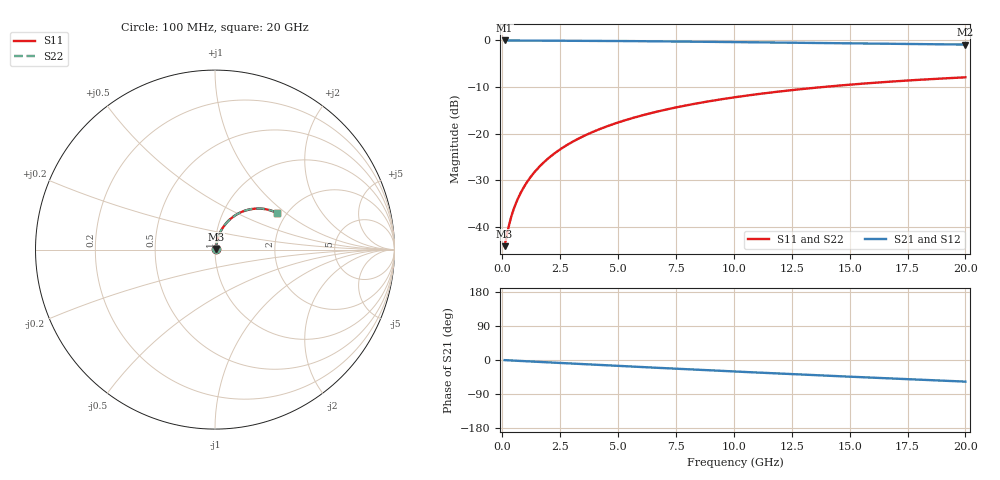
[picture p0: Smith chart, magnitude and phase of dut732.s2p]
! Touchstone file exported from HFSS 2026.1.0
!  File:  C:/ffzhzh/LocalFiles/Ansys_Project_Files/temp_train_TMRDL_732_1783154934_51560.aedt
!  Generated:  04:50:17 PM Jul  4, 2026
!  Design:  TMRDL
!  Project:  temp_train_TMRDL_732_1783154934_51560
! Variables:
!  h_bsmrdl = 2um
!  h_ox = 20um
!  h_rdl = 5um
!  h_sub = 80um
!  h_tmrdl = 3.53um
!  h_tsv = 80um
!  h_via = 3um
!  l_bsmrdl = 300um
!  l_sub = 1338.27um
!  l_tmrdl = 938.27um
!  m_sub = 200um
!  pitch = 34.05um
!  r_tsv = 6um
!  s_tmrdl = 10um
!  w_bsmrdl = 18um
!  w_sub = 500um
!  w_tmrdl = 17.8um
!  x_tsv_center1 = 947.17um
!  x_tsv_center2 = 1265.17um
!  x_tsv_center3 = 2221.24um
!  x_tsv_center4 = 2539.24um
!  x_tsv_center5 = 3495.31um
!  x_tsv_center6 = 3813.31um
# GHz S MA R 50.000000
! Terminal data exported
! Port[1] = TM_RDL1_1_T1
! Port[2] = TM_RDL1_1_T2
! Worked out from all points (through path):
!   200 points, 100 MHz to 20 GHz, reference 50 ohm
!   highest |S21| = -0.05 dB at 100 MHz (marker M1); lowest = -0.9 dB at 20 GHz (marker M2)
!   group delay of S21, straight-line fit = 7.91 ps
!   lowest |S11| = -44.1 dB at 100 MHz (marker M3), VSWR 1.01, Z = 50.5 + j0.31 ohm
!   |S11| at or under -10 dB: start of sweep to 13.89 GHz
!   |S22| runs from -44.1 to -7.9 dB; largest |S21 - S12| = 4.1e-15
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0.1  0.006232 29.5  0.9946 -0.3  0.9946 -0.3  0.006232 29.5
! Gamma 0 0 0 0
! Port Impedance 50 0 50 0
0.2  0.008297 46.5  0.9943 -0.7  0.9943 -0.7  0.008297 46.5
0.3  0.01071 55.6  0.9941 -1.0  0.9941 -1.0  0.01071 55.6
0.4  0.01321 60.9  0.9938 -1.3  0.9938 -1.3  0.01321 60.9
0.5  0.01572 64.6  0.9935 -1.6  0.9935 -1.6  0.01572 64.6
0.6  0.01825 67.2  0.9933 -1.9  0.9933 -1.9  0.01825 67.2
0.8  0.02334 70.7  0.993 -2.6  0.993 -2.6  0.02334 70.7
1  0.0285 72.8  0.9927 -3.2  0.9927 -3.2  0.0285 72.8
1.2  0.0337 74.1  0.9924 -3.8  0.9924 -3.8  0.0337 74.1
1.4  0.03893 75.0  0.9921 -4.4  0.9921 -4.4  0.03893 75.0
1.7  0.04681 75.6  0.9916 -5.4  0.9916 -5.4  0.04681 75.6
2.2  0.05996 75.8  0.9906 -6.9  0.9906 -6.9  0.05996 75.8
2.8  0.07566 75.1  0.9891 -8.8  0.9891 -8.8  0.07566 75.1
3.5  0.09378 73.8  0.987 -10.9  0.987 -10.9  0.09378 73.8
4.2  0.1116 72.2  0.9845 -13.1  0.9845 -13.1  0.1116 72.2
5  0.1316 70.1  0.9813 -15.5  0.9813 -15.5  0.1316 70.2
6.8  0.1746 65.3  0.973 -20.9  0.973 -20.9  0.1746 65.3
8.3  0.2084 61.1  0.9651 -25.3  0.9651 -25.3  0.2084 61.2
10.1  0.2463 56.2  0.9549 -30.5  0.9549 -30.5  0.2463 56.2
13.4  0.308 47.4  0.9353 -39.7  0.9353 -39.7  0.3079 47.4
16.7  0.3594 38.8  0.916 -48.5  0.916 -48.5  0.3593 38.9
20  0.4007 30.6  0.8985 -57.0  0.8985 -57.0  0.4006 30.7
